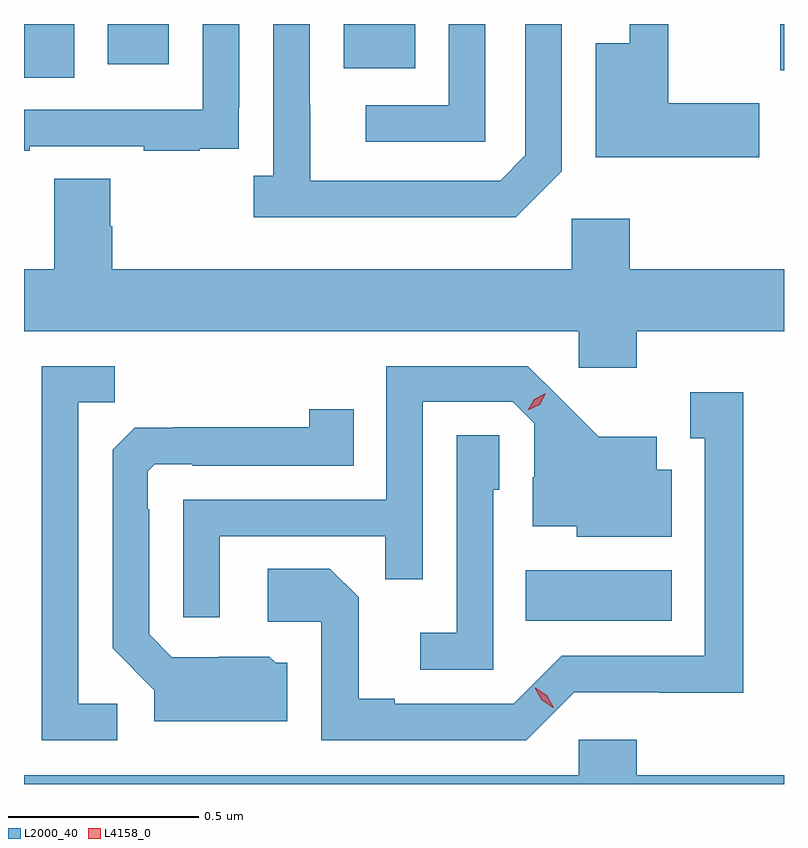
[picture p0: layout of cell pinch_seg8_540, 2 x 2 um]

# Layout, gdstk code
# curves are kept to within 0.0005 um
import gdstk
lib = gdstk.Library(unit=1e-6, precision=1e-09)
def R(c, l, rs):  # rectangles x0, y0, x1, y1
    for r in rs: c.add(gdstk.rectangle(r[:2], r[2:], *l))
def P(c, l, *ps):  # polygons
    for p in ps: c.add(gdstk.Polygon(p, *l))
L2000_40 = (2000, 40)
L4158_0 = (4158, 0)

pinch_seg8_540 = lib.new_cell('pinch_seg8_540')
R(pinch_seg8_540, L2000_40, [(131.818,1118.402,132.202,1118.536), (130.498,1119.832,130.63,1119.973), (132.488,1119.851,132.498,1119.973), (131.339,1119.857,131.527,1119.973), (130.718,1119.867,130.879,1119.973)])
P(pinch_seg8_540, L2000_40, [(131.712,1119.973),(131.616,1119.973),(131.616,1119.759),(131.397,1119.759),(131.397,1119.663),(131.712,1119.663)],
  [(131.913,1119.585),(131.913,1119.973),(131.817,1119.973),(131.817,1119.627),(131.751,1119.561),(131.251,1119.561),(131.251,1119.761),(131.25,1119.761),(131.25,1119.973),(131.154,1119.973),(131.154,1119.574),(131.103,1119.574),(131.103,1119.464),(131.792,1119.464)],
  [(132.433,1119.764),(132.194,1119.764),(132.194,1119.973),(132.092,1119.973),(132.092,1119.922),(132.002,1119.922),(132.002,1119.622),(132.433,1119.622)],
  [(130.513,1119.651),(130.813,1119.651),(130.813,1119.639),(130.961,1119.639),(130.961,1119.645),(131.063,1119.645),(131.063,1119.754),(131.064,1119.754),(131.064,1119.973),(130.968,1119.973),(130.968,1119.747),(130.498,1119.747),(130.498,1119.639),(130.513,1119.639)],
  [(131.958,1119.069),(132.11,1119.069),(132.11,1119.164),(132.498,1119.164),(132.498,1119.328),(132.092,1119.328),(132.092,1119.46),(131.94,1119.46),(131.94,1119.328),(130.73,1119.328),(130.73,1119.441),(130.725,1119.441),(130.725,1119.566),(130.577,1119.566),(130.577,1119.328),(130.498,1119.328),(130.498,1119.164),(131.958,1119.164)],
  [(130.744,1118.184),(130.641,1118.184),(130.641,1118.977),(130.737,1118.977),(130.737,1119.072),(130.545,1119.072),(130.545,1118.088),(130.744,1118.088)],
  [(131.013,1118.625),(131.449,1118.625),(131.449,1118.512),(131.547,1118.512),(131.547,1118.979),(131.784,1118.979),(131.841,1118.922),(131.841,1118.78),(131.837,1118.78),(131.837,1118.651),(131.952,1118.651),(131.952,1118.624),(132.202,1118.624),(132.202,1118.8),(132.163,1118.8),(132.163,1118.887),(132.011,1118.887),(131.824,1119.072),(131.451,1119.072),(131.451,1118.721),(130.917,1118.721),(130.917,1118.412),(131.013,1118.412)],
  [(131.946,1118.214),(132.168,1118.214),(132.168,1118.213),(132.391,1118.213),(132.391,1119.004),(132.251,1119.004),(132.251,1118.883),(132.29,1118.883),(132.29,1118.31),(131.913,1118.31),(131.787,1118.184),(131.473,1118.184),(131.473,1118.197),(131.379,1118.197),(131.379,1118.464),(131.303,1118.54),(131.139,1118.54),(131.139,1118.4),(131.28,1118.4),(131.28,1118.088),(131.82,1118.088)],
  [(131.191,1118.292),(131.16,1118.292),(131.144,1118.308),(131.01,1118.308),(131.01,1118.307),(130.887,1118.307),(130.827,1118.367),(130.827,1118.696),(130.824,1118.696),(130.824,1118.796),(130.842,1118.814),(130.942,1118.814),(130.942,1118.811),(131.366,1118.811),(131.366,1118.959),(131.248,1118.959),(131.248,1118.912),(130.891,1118.912),(130.891,1118.911),(130.79,1118.911),(130.731,1118.852),(130.731,1118.33),(130.841,1118.22),(130.841,1118.138),(131.191,1118.138)],
  [(131.733,1118.748),(131.748,1118.748),(131.748,1118.891),(131.637,1118.891),(131.637,1118.371),(131.541,1118.371),(131.541,1118.274),(131.733,1118.274)],
  [(132.498,1117.996),(132.11,1117.996),(132.11,1118.089),(131.958,1118.089),(131.958,1117.996),(130.498,1117.996),(130.498,1117.973),(132.498,1117.973)])
P(pinch_seg8_540, L4158_0, [(131.891,1118.174),(131.86,1118.193),(131.842,1118.226),(131.842,1118.226),(131.843,1118.226),(131.874,1118.207),(131.892,1118.174),(131.892,1118.174)],
  [(131.824,1118.956),(131.824,1118.956),(131.841,1118.986),(131.871,1119.001),(131.871,1119.001),(131.871,1119.001),(131.855,1118.971),(131.824,1118.956)])

lib.write_gds('pinch_seg8_540.gds')
